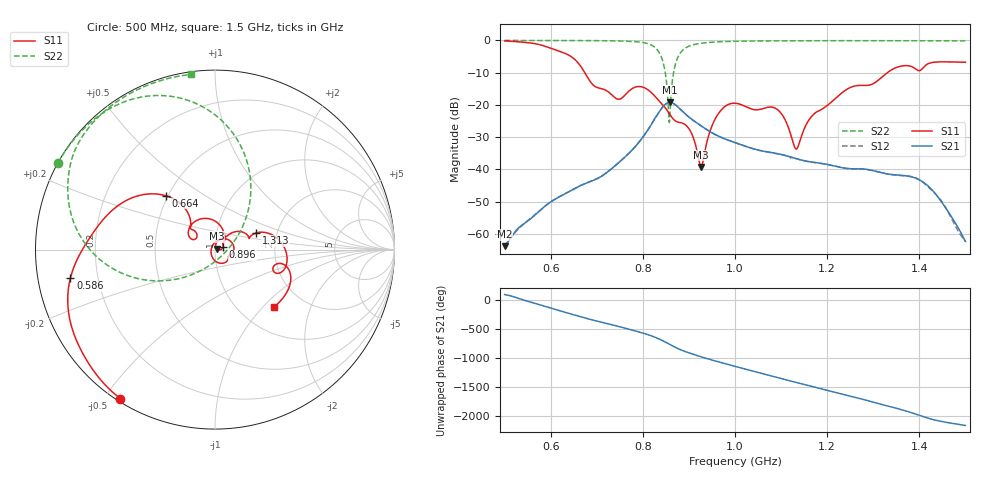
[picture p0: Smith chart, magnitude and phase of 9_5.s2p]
! TOUCHSTONE file generated by CST MICROWAVE STUDIO
! Date and time: Mon Oct 26 12:25:51 2020
! Project name: Scenario_1_Circular_Tissue_out_of_Line.cst
! Parameters = {dy1=-207.272; L_HA=400; MT=2.54; Rad_Dielectric=30; Rad_Lower=7.3; Rad_Upper=30; a_HA=580; a_WG=246; b_HA=500; b_WG=121; c_HA=0; c_WG=187; d_feed=85; dx1=866; h_feed=15; h_lower=18; h_upper=40}
! Header version: 2018
! Port assignment regex: !\s*Touchstone port\s*([0-9]+)\s*=\s*(CST MWS port|CST DS port)\s*([0-9]+|Zmin|Zmax)\s*\(\"(.*)\"\)(\s*mode\s*([0-9]+))?.*
! Touchstone port assignment:
! Touchstone port 1 = CST MWS port 1 ("")
! Touchstone port 2 = CST MWS port 2 ("")
# GHz S DB R 50
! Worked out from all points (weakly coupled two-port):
!   1001 points, 500 MHz to 1.5 GHz, reference 50 ohm
!   highest |S21| = -19.23 dB at 858 MHz (marker M1); lowest = -63.9 dB at 500 MHz (marker M2)
!   lowest |S11| = -39.3 dB at 926 MHz (marker M3), VSWR 1.02, Z = 50.9 + j0.604 ohm
!   |S11| at or under -10 dB: 674 MHz to 1.33 GHz (656.5 MHz wide, 65.5 % of centre)
!   |S22| runs from -25.5 to 0.0 dB; largest |S21 - S12| = 0.00077
!   S11 on the Smith chart (normalised r, x): 500 MHz: 0.01, -0.55; 586 MHz: 0.10, -0.10; 664 MHz: 0.49, +0.35; 896 MHz: 1.09, +0.03; 1.313 GHz: 1.56, +0.31; 1.5 GHz: 1.43, -1.16
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0.5  -0.15 -122.4  -63.86 94.5  -63.85 94.4  -0.01 151.1
0.586  -1.71 -168.9  -51.62 -104.4  -51.64 -104.3  -0.02 145.2
0.664  -7.80 132.5  -45.10 74.4  -45.10 74.3  -0.04 138.7
0.667  -8.41 130.3  -44.88 67.7  -44.91 67.6  -0.04 138.4
0.744  -18.16 144.4  -38.38 -88.0  -38.39 -87.9  -0.14 128.6
0.779  -14.78 143.9  -33.67 -162.2  -33.66 -162.2  -0.33 120.6
0.815  -15.75 92.5  -26.87 113.4  -26.87 113.2  -1.22 103.3
0.834  -18.57 68.1  -22.47 54.1  -22.48 54.3  -3.43 82.8
0.845  -20.30 56.1  -20.34 12.1  -20.35 12.0  -7.42 62.2
0.858  -22.83 43.1  -19.23 -44.0  -19.23 -44.0  -25.26 -69.9
0.873  -25.19 39.0  -20.26 -105.3  -20.26 -105.3  -6.32 -161.4
0.896  -26.65 16.1  -23.32 -178.7  -23.32 -178.6  -2.05 170.5
0.926  -39.32 33.3  -26.46 103.0  -26.47 103.1  -0.90 155.4
0.959  -23.85 62.0  -29.36 26.8  -29.36 26.6  -0.47 146.9
1  -19.49 2.9  -31.72 -62.1  -31.69 -62.1  -0.27 140.2
1.091  -21.35 -63.4  -35.11 108.5  -35.11 108.5  -0.13 130.5
1.133  -33.70 165.6  -36.70 20.0  -36.70 20.1  -0.11 126.9
1.167  -23.46 62.6  -37.76 -47.1  -37.80 -47.2  -0.09 124.1
1.313  -12.08 22.0  -40.92 12.9  -40.90 13.1  -0.08 113.0
1.334  -9.64 14.3  -41.52 -29.9  -41.52 -29.8  -0.08 111.4
1.418  -7.31 -15.9  -45.03 127.5  -45.29 129.0  -0.10 104.8
1.5  -6.78 -44.2  -62.40 0.1  -62.42 0.2  -0.13 97.8
